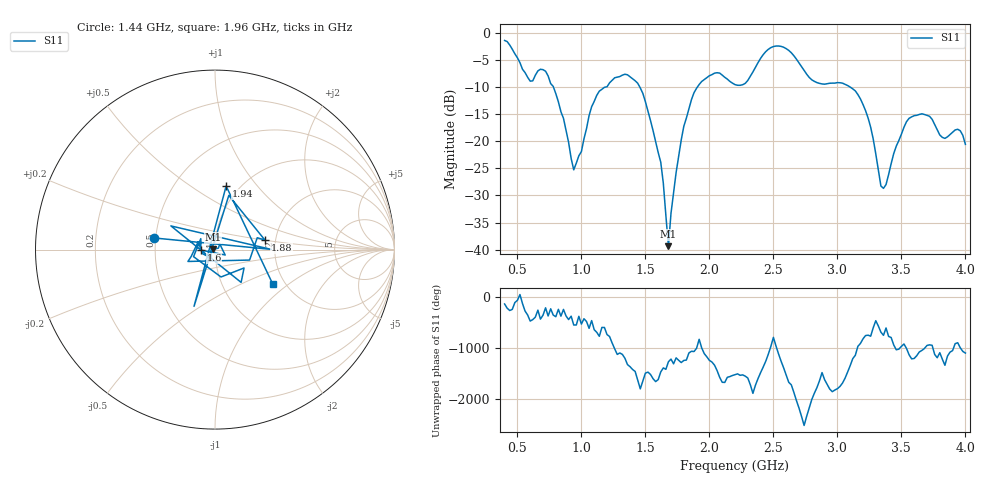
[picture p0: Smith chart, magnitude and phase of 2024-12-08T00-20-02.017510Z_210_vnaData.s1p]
!Created with skrf (http://scikit-rf.org).
# Hz S RI R 50.0
!freq ReS11 ImS11
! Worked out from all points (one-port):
!   181 points, 400 MHz to 4 GHz, reference 50 ohm
!   lowest |S11| = -39.4 dB at 1.68 GHz (marker M1), VSWR 1.02, Z = 48.9 + j0.156 ohm
!   |S11| at or under -10 dB: 783 MHz to 1.178 GHz (395.2 MHz wide, 40.3 % of centre); 1.458 GHz to 1.904 GHz (445.6 MHz wide, 26.5 % of centre); 3.105 GHz to end of sweep
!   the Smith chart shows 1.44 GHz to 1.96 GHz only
!   S11 on the Smith chart (normalised r, x): 1.44 GHz: 0.49, +0.07; 1.6 GHz: 0.85, -0.00; 1.88 GHz: 1.76, +0.20; 1.94 GHz: 0.87, +0.70; 1.96 GHz: 1.73, -0.77
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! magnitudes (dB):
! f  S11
! 400 MHz  -1.3
! 600 MHz  -8.8
! 720 MHz  -7.0
! 860 MHz  -15.7
! 940 MHz  -25.2
! 1.12 GHz  -11.5
! 1.3 GHz  -8.0
! 1.44 GHz  -9.2
! 1.6 GHz  -22.0
! 1.64 GHz  -27.7
! 1.68 GHz  -39.4
! 1.7 GHz  -33.3
! 1.76 GHz  -22.7
! 1.88 GHz  -11.0
! 1.94 GHz  -8.9
! 1.96 GHz  -8.5
! 2.2 GHz  -9.5
! 2.48 GHz  -2.6
! 2.66 GHz  -4.1
! 2.82 GHz  -8.9
! 3.1 GHz  -9.9
! 3.24 GHz  -15.7
! 3.36 GHz  -28.7
! 3.56 GHz  -15.7
! 3.72 GHz  -15.3
! 3.84 GHz  -19.4
! 3.94 GHz  -17.7
! 4 GHz  -20.5
